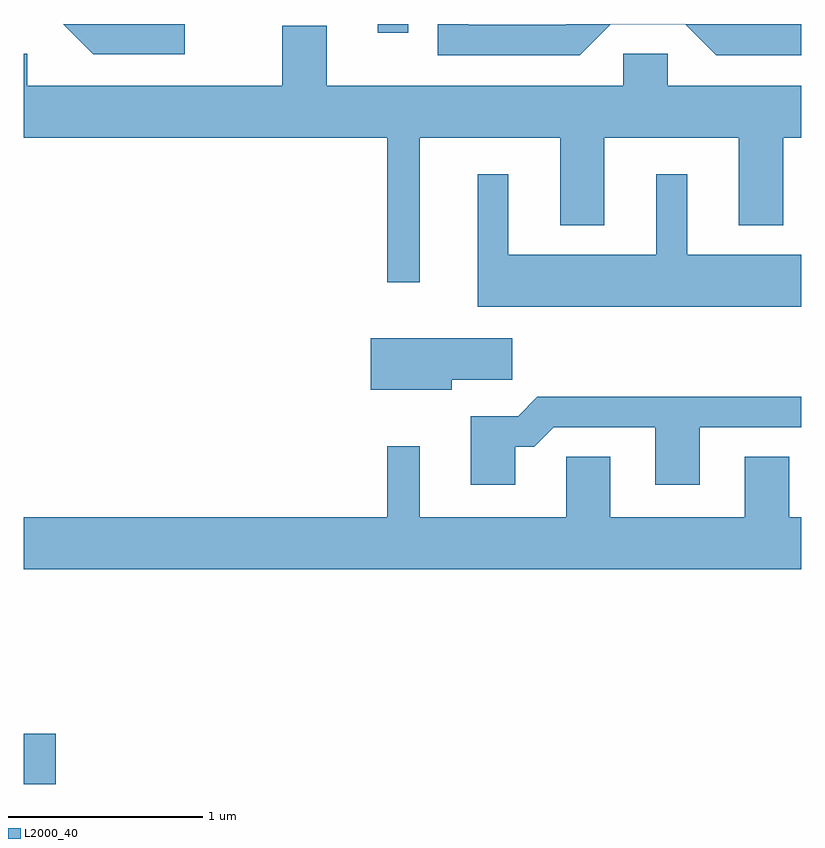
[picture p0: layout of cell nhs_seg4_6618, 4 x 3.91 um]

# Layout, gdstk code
import gdstk
lib = gdstk.Library(unit=1e-6, precision=1e-09)
def R(c, l, rs):  # rectangles x0, y0, x1, y1
    for r in rs: c.add(gdstk.rectangle(r[:2], r[2:], *l))
def P(c, l, *ps):  # polygons
    for p in ps: c.add(gdstk.Polygon(p, *l))
L2000_40 = (2000, 40)

nhs_seg4_6618 = lib.new_cell('nhs_seg4_6618')
R(nhs_seg4_6618, L2000_40, [(379.611,1298.071,379.774,1298.329), (381.431,1301.938,381.589,1301.982)])
P(nhs_seg4_6618, L2000_40, [(382.632,1301.981),(383.014,1301.981),(383.174,1301.821),(383.611,1301.821),(383.611,1301.982),(382.402,1301.982),(382.399,1301.979),(381.899,1301.979),(381.899,1301.982),(381.741,1301.982),(381.741,1301.821),(382.472,1301.821)],
  [(380.438,1301.982),(379.813,1301.982),(379.969,1301.826),(380.438,1301.826)],
  [(381.649,1301.396),(382.371,1301.396),(382.371,1300.946),(382.599,1300.946),(382.599,1301.396),(383.291,1301.396),(383.291,1300.946),(383.519,1300.946),(383.519,1301.396),(383.611,1301.396),(383.611,1301.664),(382.924,1301.664),(382.924,1301.829),(382.696,1301.829),(382.696,1301.664),(381.169,1301.664),(381.169,1301.974),(380.941,1301.974),(380.941,1301.664),(379.629,1301.664),(379.629,1301.829),(379.611,1301.829),(379.611,1301.396),(381.481,1301.396),(381.481,1300.653),(381.649,1300.653)],
  [(383.611,1300.794),(383.024,1300.794),(383.024,1301.208),(382.866,1301.208),(382.866,1300.794),(382.104,1300.794),(382.104,1301.208),(381.946,1301.208),(381.946,1300.526),(383.611,1300.526)],
  [(381.814,1300.151),(382.124,1300.151),(382.124,1300.364),(381.396,1300.364),(381.396,1300.101),(381.814,1300.101)],
  [(382.139,1299.806),(382.237,1299.806),(382.337,1299.906),(382.861,1299.906),(382.861,1299.611),(383.089,1299.611),(383.089,1299.906),(383.611,1299.906),(383.611,1300.064),(382.254,1300.064),(382.154,1299.964),(381.911,1299.964),(381.911,1299.611),(382.139,1299.611)],
  [(383.611,1299.444),(383.549,1299.444),(383.549,1299.754),(383.321,1299.754),(383.321,1299.444),(382.629,1299.444),(382.629,1299.754),(382.401,1299.754),(382.401,1299.444),(381.649,1299.444),(381.649,1299.808),(381.481,1299.808),(381.481,1299.444),(379.611,1299.444),(379.611,1299.176),(383.611,1299.176)])

lib.write_gds('nhs_seg4_6618.gds')
